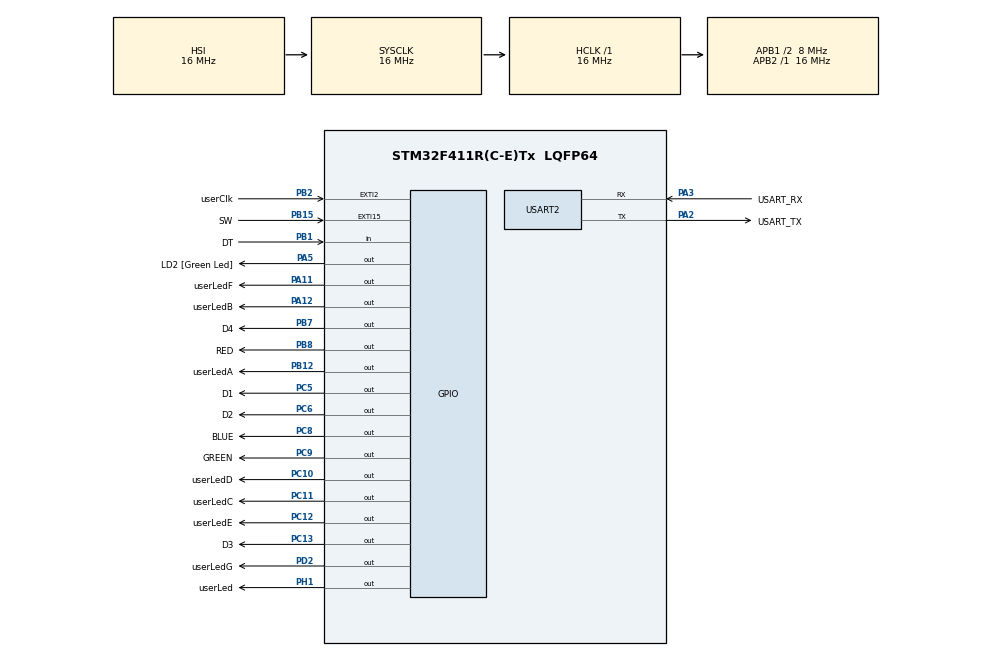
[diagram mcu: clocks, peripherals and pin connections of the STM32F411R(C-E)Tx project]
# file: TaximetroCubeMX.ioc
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Mcu.Family=STM32F4
Mcu.Name=STM32F411R(C-E)Tx
Mcu.Package=LQFP64
NVIC.EXTI15_10_IRQn=true\:0\:0\:false\:false\:true\:true\:true\:true
NVIC.EXTI2_IRQn=true\:0\:0\:false\:false\:true\:true\:true\:true
NVIC.PriorityGroup=NVIC_PRIORITYGROUP_0
NVIC.TIM2_IRQn=true\:0\:0\:false\:false\:true\:true\:true\:true
NVIC.TIM3_IRQn=true\:0\:0\:false\:false\:true\:true\:true\:true
PA11.GPIO_Label=userLedF
PA11.GPIO_Speed=GPIO_SPEED_FREQ_MEDIUM
PA11.Signal=GPIO_Output
PA12.GPIO_Label=userLedB
PA12.GPIO_Speed=GPIO_SPEED_FREQ_MEDIUM
PA12.Signal=GPIO_Output
PA13.GPIO_Label=TMS
PA13.Mode=Serial_Wire
PA13.Signal=SYS_JTMS-SWDIO
PA14.GPIO_Label=TCK
PA14.Mode=Serial_Wire
PA14.Signal=SYS_JTCK-SWCLK
PA2.GPIO_Label=USART_TX
PA2.Mode=Asynchronous
PA2.Signal=USART2_TX
PA3.GPIO_Label=USART_RX
PA3.Mode=Asynchronous
PA3.Signal=USART2_RX
PA5.GPIO_Label=LD2 [Green Led]
PA5.Signal=GPIO_Output
PB1.GPIO_Label=DT
PB1.Signal=GPIO_Input
PB12.GPIO_Label=userLedA
PB12.GPIO_Speed=GPIO_SPEED_FREQ_MEDIUM
PB12.Signal=GPIO_Output
PB15.GPIO_Label=SW
PB15.Signal=GPXTI15
PB2.GPIO_Label=userClk
PB2.Signal=GPXTI2
PB3.GPIO_Label=SWO
PB3.Signal=SYS_JTDO-SWO
PB7.GPIO_Label=D4
PB7.GPIO_ModeDefaultOutputPP=GPIO_MODE_OUTPUT_OD
PB7.GPIO_PuPd=GPIO_NOPULL
PB7.GPIO_Speed=GPIO_SPEED_FREQ_MEDIUM
PB7.Signal=GPIO_Output
PB8.GPIO_Label=RED
PB8.GPIO_Speed=GPIO_SPEED_FREQ_MEDIUM
PB8.Signal=GPIO_Output
PC10.GPIO_Label=userLedD
PC10.GPIO_Speed=GPIO_SPEED_FREQ_MEDIUM
PC10.Signal=GPIO_Output
PC11.GPIO_Label=userLedC
PC11.GPIO_Speed=GPIO_SPEED_FREQ_MEDIUM
PC11.Signal=GPIO_Output
PC12.GPIO_Label=userLedE
PC12.Signal=GPIO_Output
PC13-ANTI_TAMP.GPIO_Label=D3
PC13-ANTI_TAMP.GPIO_ModeDefaultOutputPP=GPIO_MODE_OUTPUT_OD
PC13-ANTI_TAMP.GPIO_PuPd=GPIO_NOPULL
PC13-ANTI_TAMP.GPIO_Speed=GPIO_SPEED_FREQ_LOW
PC13-ANTI_TAMP.Signal=GPIO_Output
PC15-OSC32_OUT.Signal=RCC_OSC32_OUT
PC5.GPIO_Label=D1
PC5.GPIO_ModeDefaultOutputPP=GPIO_MODE_OUTPUT_OD
PC5.GPIO_PuPd=GPIO_NOPULL
PC5.GPIO_Speed=GPIO_SPEED_FREQ_MEDIUM
PC5.Signal=GPIO_Output
PC6.GPIO_Label=D2
PC6.GPIO_ModeDefaultOutputPP=GPIO_MODE_OUTPUT_OD
PC6.GPIO_PuPd=GPIO_NOPULL
PC6.GPIO_Speed=GPIO_SPEED_FREQ_MEDIUM
PC6.Signal=GPIO_Output
PC8.GPIO_Label=BLUE
PC8.GPIO_Speed=GPIO_SPEED_FREQ_MEDIUM
PC8.Signal=GPIO_Output
PC9.GPIO_Label=GREEN
PC9.GPIO_Speed=GPIO_SPEED_FREQ_MEDIUM
PC9.Signal=GPIO_Output
PD2.GPIO_Label=userLedG
PD2.Signal=GPIO_Output
PH1\ -\ OSC_OUT.GPIO_Label=userLed
PH1\ -\ OSC_OUT.GPIO_Speed=GPIO_SPEED_FREQ_MEDIUM
PH1\ -\ OSC_OUT.PinState=GPIO_PIN_SET
PH1\ -\ OSC_OUT.Signal=GPIO_Output
ProjectManager.HeapSize=0x200
ProjectManager.StackSize=0x400
ProjectManager.TargetToolchain=STM32CubeIDE
RCC.48MHZClocksFreq_Value=84000000
RCC.AHBFreq_Value=16000000
RCC.APB1CLKDivider=RCC_HCLK_DIV2
RCC.APB1Freq_Value=8000000
RCC.APB1TimFreq_Value=16000000
RCC.APB2Freq_Value=16000000
RCC.APB2TimFreq_Value=16000000
RCC.CortexFreq_Value=16000000
RCC.FLatency-AdvancedSettings=FLASH_LATENCY_0
RCC.HCLKFreq_Value=16000000
RCC.HSE_VALUE=8000000
RCC.HSI_VALUE=16000000
RCC.PLLN=336
RCC.PLLP=RCC_PLLP_DIV4
RCC.SYSCLKFreq_VALUE=16000000
RCC.VCOOutputFreq_Value=336000000
TIM2.AutoReloadPreload=TIM_AUTORELOAD_PRELOAD_ENABLE
TIM2.Period=250-1
TIM2.Prescaler=16000-1
TIM3.AutoReloadPreload=TIM_AUTORELOAD_PRELOAD_ENABLE
TIM3.Period=5-1
TIM3.Prescaler=16000-1
USART2.VirtualMode=VM_ASYNC
VP_TIM2_VS_ClockSourceINT.Mode=Internal
VP_TIM3_VS_ClockSourceINT.Mode=Internal
board=NUCLEO-F411RE

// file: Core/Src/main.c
/* USER CODE BEGIN Header */
/**
 ******************************************************************************
 * @file           : main,c
 * @brief          : Main program body
 ******************************************************************************
 * @attention
 *
 * Copyright (c) 2025 STMicroelectronics.
 * All rights reserved.
 *
 * This software is licensed under terms that can be found in the LICENSE file
 * in the root directory of this software component.
 * If no LICENSE file comes with this software, it is provided AS-IS.
 *
 ******************************************************************************
 */
/* USER CODE END Header */
#include "main.h"

TIM_HandleTypeDef htim2;
TIM_HandleTypeDef htim3;

UART_HandleTypeDef huart2;

/* USER CODE BEGIN PV */
// variables que gobiernan el encoder
uint8_t data                = 0;
uint8_t casoRGB             = 0; //variable auxiliar para entrar a cada caso de posibles colores del led RGB

//variables usadas para el display
uint16_t numero             = 0;   // Este es el numero general que se vera reflejado en el display completo y el que aumenta o disminuye girando el encoder
uint8_t baseT               = 0;   // Variable auxiliar para entrar en cada caso de prender alguno de los 4 displays abriendo la base de sus transistores correspondientes

// Variables para la descomposicion de "numero" en 4 numeros para cada 7 segmentos
uint8_t unidades            = 0;
uint8_t decenas             = 0;
uint8_t	centenas            = 0;
uint8_t miles               = 0;

fsm_states_t fsm_taximetro = {0};
/* USER CODE END PV */

void SystemClock_Config(void);
static void MX_GPIO_Init(void);
static void MX_USART2_UART_Init(void);
static void MX_TIM2_Init(void);
static void MX_TIM3_Init(void);
/* USER CODE BEGIN PFP */
void refreshDisplay(uint8_t numero); //Refresco de los 4 digitos mostrados en el display que corresponden cada uno a un 7 segmentos
void displayNumber(uint8_t n);       //Casos que pintan en un 7 segmentos un numero del 0 al 9
void getDigit(uint16_t numero);      //Descomposicion de "numero" en 4 digitos : unidad, decena, centena, mil.
void colorRGB (uint8_t y);           //Casos del LedRGB
e_PosibleStates state_machine_action(uint8_t event);    //Maquina de estados
void initProgram(void);              //Función que inicializa la maquina de estados en el estado IDLE (espera)
/* USER CODE END PFP */

int main(void)
{

	/* MCU Configuration--------------------------------------------------------*/

	/* Reset of all peripherals, Initializes the Flash interface and the Systick. */
	HAL_Init();

	/* Configure the system clock */
	SystemClock_Config();

	/* Initialize all configured peripherals */
	MX_GPIO_Init();
	MX_USART2_UART_Init();
	MX_TIM2_Init();
	MX_TIM3_Init();
	/* USER CODE BEGIN 2 */
	initProgram();
	HAL_TIM_Base_Start_IT(&htim2); // Activa el timer y la interrupción del mismo
	HAL_TIM_Base_Start_IT(&htim3);
	/* USER CODE END 2 */

	/* Infinite loop */
	/* USER CODE BEGIN WHILE */
	while (1)
	{
		state_machine_action(fsm_taximetro.state);
		/* USER CODE END WHILE */

	}
}

void SystemClock_Config(void)
{
	RCC_OscInitTypeDef RCC_OscInitStruct = {0};
	RCC_ClkInitTypeDef RCC_ClkInitStruct = {0};

	/** Configure the main internal regulator output voltage
	 */
	__HAL_RCC_PWR_CLK_ENABLE();
	__HAL_PWR_VOLTAGESCALING_CONFIG(PWR_REGULATOR_VOLTAGE_SCALE1);

	/** Initializes the RCC Oscillators according to the specified parameters
	 * in the RCC_OscInitTypeDef structure.
	 */
	RCC_OscInitStruct.OscillatorType = RCC_OSCILLATORTYPE_HSI;
	RCC_OscInitStruct.HSIState = RCC_HSI_ON;
	RCC_OscInitStruct.HSICalibrationValue = RCC_HSICALIBRATION_DEFAULT;
	RCC_OscInitStruct.PLL.PLLState = RCC_PLL_NONE;
	if (HAL_RCC_OscConfig(&RCC_OscInitStruct) != HAL_OK)
	{
		Error_Handler();
	}

	/** Initializes the CPU, AHB and APB buses clocks
	 */
	RCC_ClkInitStruct.ClockType = RCC_CLOCKTYPE_HCLK|RCC_CLOCKTYPE_SYSCLK
			|RCC_CLOCKTYPE_PCLK1|RCC_CLOCKTYPE_PCLK2;
	RCC_ClkInitStruct.SYSCLKSource = RCC_SYSCLKSOURCE_HSI;
	RCC_ClkInitStruct.AHBCLKDivider = RCC_SYSCLK_DIV1;
	RCC_ClkInitStruct.APB1CLKDivider = RCC_HCLK_DIV2;
	RCC_ClkInitStruct.APB2CLKDivider = RCC_HCLK_DIV1;

	if (HAL_RCC_ClockConfig(&RCC_ClkInitStruct, FLASH_LATENCY_0) != HAL_OK)
	{
		Error_Handler();
	}
}

static void MX_TIM2_Init(void)
{

	TIM_ClockConfigTypeDef sClockSourceConfig = {0};
	TIM_MasterConfigTypeDef sMasterConfig = {0};

	htim2.Instance = TIM2;
	htim2.Init.Prescaler = 16000-1;
	htim2.Init.CounterMode = TIM_COUNTERMODE_UP;
	htim2.Init.Period = 250-1;
	htim2.Init.ClockDivision = TIM_CLOCKDIVISION_DIV1;
	htim2.Init.AutoReloadPreload = TIM_AUTORELOAD_PRELOAD_ENABLE;
	if (HAL_TIM_Base_Init(&htim2) != HAL_OK)
	{
		Error_Handler();
	}
	sClockSourceConfig.ClockSource = TIM_CLOCKSOURCE_INTERNAL;
	if (HAL_TIM_ConfigClockSource(&htim2, &sClockSourceConfig) != HAL_OK)
	{
		Error_Handler();
	}
	sMasterConfig.MasterOutputTrigger = TIM_TRGO_RESET;
	sMasterConfig.MasterSlaveMode = TIM_MASTERSLAVEMODE_DISABLE;
	if (HAL_TIMEx_MasterConfigSynchronization(&htim2, &sMasterConfig) != HAL_OK)
	{
		Error_Handler();
	}

}

static void MX_TIM3_Init(void)
{

	TIM_ClockConfigTypeDef sClockSourceConfig = {0};
	TIM_MasterConfigTypeDef sMasterConfig = {0};

	htim3.Instance = TIM3;
	htim3.Init.Prescaler = 16000-1;
	htim3.Init.CounterMode = TIM_COUNTERMODE_UP;
	htim3.Init.Period = 5-1;
	htim3.Init.ClockDivision = TIM_CLOCKDIVISION_DIV1;
	htim3.Init.AutoReloadPreload = TIM_AUTORELOAD_PRELOAD_ENABLE;
	if (HAL_TIM_Base_Init(&htim3) != HAL_OK)
	{
		Error_Handler();
	}
	sClockSourceConfig.ClockSource = TIM_CLOCKSOURCE_INTERNAL;
	if (HAL_TIM_ConfigClockSource(&htim3, &sClockSourceConfig) != HAL_OK)
	{
		Error_Handler();
	}
	sMasterConfig.MasterOutputTrigger = TIM_TRGO_RESET;
	sMasterConfig.MasterSlaveMode = TIM_MASTERSLAVEMODE_DISABLE;
	if (HAL_TIMEx_MasterConfigSynchronization(&htim3, &sMasterConfig) != HAL_OK)
	{
		Error_Handler();
	}

}

static void MX_USART2_UART_Init(void)
{

	huart2.Instance = USART2;
	huart2.Init.BaudRate = 115200;
	huart2.Init.WordLength = UART_WORDLENGTH_8B;
	huart2.Init.StopBits = UART_STOPBITS_1;
	huart2.Init.Parity = UART_PARITY_NONE;
	huart2.Init.Mode = UART_MODE_TX_RX;
	huart2.Init.HwFlowCtl = UART_HWCONTROL_NONE;
	huart2.Init.OverSampling = UART_OVERSAMPLING_16;
	if (HAL_UART_Init(&huart2) != HAL_OK)
	{
		Error_Handler();
	}

}

static void MX_GPIO_Init(void)
{
	GPIO_InitTypeDef GPIO_InitStruct = {0};

	/* GPIO Ports Clock Enable */
	__HAL_RCC_GPIOC_CLK_ENABLE();
	__HAL_RCC_GPIOH_CLK_ENABLE();
	__HAL_RCC_GPIOA_CLK_ENABLE();
	__HAL_RCC_GPIOB_CLK_ENABLE();
	__HAL_RCC_GPIOD_CLK_ENABLE();

	/*Configure GPIO pin Output Level */
	HAL_GPIO_WritePin(GPIOC, D3_Pin|D1_Pin|D2_Pin|BLUE_Pin
			|GREEN_Pin|userLedD_Pin|userLedC_Pin|userLedE_Pin, GPIO_PIN_RESET);

	/*Configure GPIO pin Output Level */
	HAL_GPIO_WritePin(userLed_GPIO_Port, userLed_Pin, GPIO_PIN_SET);

	/*Configure GPIO pin Output Level */
	HAL_GPIO_WritePin(GPIOA, LD2_Pin|userLedF_Pin|userLedB_Pin, GPIO_PIN_RESET);

	/*Configure GPIO pin Output Level */
	HAL_GPIO_WritePin(GPIOB, userLedA_Pin|D4_Pin|RED_Pin, GPIO_PIN_RESET);

	/*Configure GPIO pin Output Level */
	HAL_GPIO_WritePin(userLedG_GPIO_Port, userLedG_Pin, GPIO_PIN_RESET);

	/*Configure GPIO pin : D3_Pin */
	GPIO_InitStruct.Pin = D3_Pin;
	GPIO_InitStruct.Mode = GPIO_MODE_OUTPUT_OD;
	GPIO_InitStruct.Pull = GPIO_NOPULL;
	GPIO_InitStruct.Speed = GPIO_SPEED_FREQ_LOW;
	HAL_GPIO_Init(D3_GPIO_Port, &GPIO_InitStruct);

	/*Configure GPIO pin : userLed_Pin */
	GPIO_InitStruct.Pin = userLed_Pin;
	GPIO_InitStruct.Mode = GPIO_MODE_OUTPUT_PP;
	GPIO_InitStruct.Pull = GPIO_NOPULL;
	GPIO_InitStruct.Speed = GPIO_SPEED_FREQ_MEDIUM;
	HAL_GPIO_Init(userLed_GPIO_Port, &GPIO_InitStruct);

	/*Configure GPIO pin : LD2_Pin */
	GPIO_InitStruct.Pin = LD2_Pin;
	GPIO_InitStruct.Mode = GPIO_MODE_OUTPUT_PP;
	GPIO_InitStruct.Pull = GPIO_NOPULL;
	GPIO_InitStruct.Speed = GPIO_SPEED_FREQ_LOW;
	HAL_GPIO_Init(LD2_GPIO_Port, &GPIO_InitStruct);

	/*Configure GPIO pins : D1_Pin D2_Pin */
	GPIO_InitStruct.Pin = D1_Pin|D2_Pin;
	GPIO_InitStruct.Mode = GPIO_MODE_OUTPUT_OD;
	GPIO_InitStruct.Pull = GPIO_NOPULL;
	GPIO_InitStruct.Speed = GPIO_SPEED_FREQ_MEDIUM;
	HAL_GPIO_Init(GPIOC, &GPIO_InitStruct);

	/*Configure GPIO pin : DT_Pin */
	GPIO_InitStruct.Pin = DT_Pin;
	GPIO_InitStruct.Mode = GPIO_MODE_INPUT;
	GPIO_InitStruct.Pull = GPIO_NOPULL;
	HAL_GPIO_Init(DT_GPIO_Port, &GPIO_InitStruct);

	/*Configure GPIO pins : userClk_Pin SW_Pin */
	GPIO_InitStruct.Pin = userClk_Pin|SW_Pin;
	GPIO_InitStruct.Mode = GPIO_MODE_IT_RISING;
	GPIO_InitStruct.Pull = GPIO_NOPULL;
	HAL_GPIO_Init(GPIOB, &GPIO_InitStruct);

	/*Configure GPIO pins : userLedA_Pin RED_Pin */
	GPIO_InitStruct.Pin = userLedA_Pin|RED_Pin;
	GPIO_InitStruct.Mode = GPIO_MODE_OUTPUT_PP;
	GPIO_InitStruct.Pull = GPIO_NOPULL;
	GPIO_InitStruct.Speed = GPIO_SPEED_FREQ_MEDIUM;
	HAL_GPIO_Init(GPIOB, &GPIO_InitStruct);

	/*Configure GPIO pins : BLUE_Pin GREEN_Pin userLedD_Pin userLedC_Pin */
	GPIO_InitStruct.Pin = BLUE_Pin|GREEN_Pin|userLedD_Pin|userLedC_Pin;
	GPIO_InitStruct.Mode = GPIO_MODE_OUTPUT_PP;
	GPIO_InitStruct.Pull = GPIO_NOPULL;
	GPIO_InitStruct.Speed = GPIO_SPEED_FREQ_MEDIUM;
	HAL_GPIO_Init(GPIOC, &GPIO_InitStruct);

	/*Configure GPIO pins : userLedF_Pin userLedB_Pin */
	GPIO_InitStruct.Pin = userLedF_Pin|userLedB_Pin;
	GPIO_InitStruct.Mode = GPIO_MODE_OUTPUT_PP;
	GPIO_InitStruct.Pull = GPIO_NOPULL;
	GPIO_InitStruct.Speed = GPIO_SPEED_FREQ_MEDIUM;
	HAL_GPIO_Init(GPIOA, &GPIO_InitStruct);

	/*Configure GPIO pin : userLedE_Pin */
	GPIO_InitStruct.Pin = userLedE_Pin;
	GPIO_InitStruct.Mode = GPIO_MODE_OUTPUT_PP;
	GPIO_InitStruct.Pull = GPIO_NOPULL;
	GPIO_InitStruct.Speed = GPIO_SPEED_FREQ_LOW;
	HAL_GPIO_Init(userLedE_GPIO_Port, &GPIO_InitStruct);

	/*Configure GPIO pin : userLedG_Pin */
	GPIO_InitStruct.Pin = userLedG_Pin;
	GPIO_InitStruct.Mode = GPIO_MODE_OUTPUT_PP;
	GPIO_InitStruct.Pull = GPIO_NOPULL;
	GPIO_InitStruct.Speed = GPIO_SPEED_FREQ_LOW;
	HAL_GPIO_Init(userLedG_GPIO_Port, &GPIO_InitStruct);

	/*Configure GPIO pin : D4_Pin */
	GPIO_InitStruct.Pin = D4_Pin;
	GPIO_InitStruct.Mode = GPIO_MODE_OUTPUT_OD;
	GPIO_InitStruct.Pull = GPIO_NOPULL;
	GPIO_InitStruct.Speed = GPIO_SPEED_FREQ_MEDIUM;
	HAL_GPIO_Init(D4_GPIO_Port, &GPIO_InitStruct);

	/* EXTI interrupt init*/
	HAL_NVIC_SetPriority(EXTI2_IRQn, 0, 0);
	HAL_NVIC_EnableIRQ(EXTI2_IRQn);

	HAL_NVIC_SetPriority(EXTI15_10_IRQn, 0, 0);
	HAL_NVIC_EnableIRQ(EXTI15_10_IRQn);

}

/* USER CODE BEGIN 4 */
e_PosibleStates state_machine_action(uint8_t event){

	switch(fsm_taximetro.state){

	case IDLE:{
		__NOP();
		break;
	}

	case ENCODER:{
		GPIO_PinState data = HAL_GPIO_ReadPin(DT_GPIO_Port, DT_Pin);
		if (data == 0){ //Revisamos si fue un flanco de subida o de bajada

			if (numero == 4095){   //Si el numero es 4095 debemos devolvernos al 0
				numero=0;
			}

			else{       // de lo contrario sumamos 1 a la variable "numero"
				numero ++;
			}
		}

		else{             //en caso contrario vamos a restar 1 a la variable "numero"
			if (numero ==0){         //si "numero" es 0 debemos llegar a 4095 que es el limte para una variable de 12 Bits
				numero=4095;
			}

			else{
				numero --;
			}

		}

		fsm_taximetro.state = IDLE;
		break;
	}

	case SWITCH:{
		casoRGB ++;    //pasamos al siguiente caso de Led RGB
		if (casoRGB >7){  //Reiniciamos casoRGB cuando llega al ultimo para así volver a empezar por el primer caso
			casoRGB = 0;

		}
		colorRGB(casoRGB);
		fsm_taximetro.state = IDLE;
		break;
	}

	case REFRESH:{
		baseT ++;         //Entramos al siguiente digito activando la base del transistor que sigue, entrando en los casos de la funcion "refreshDisplay"
		if (baseT >3){    //Reiniciamos "baseT" cuando llega al ultimo caso y asi volvemos a empezar por el primer digito (D4)
			baseT = 0;
		}
		getDigit(numero);        //obtenemos los 4 digitos necesarios (unidad,decena,centena,mil)  a partir de "numero"
		refreshDisplay(baseT);
		fsm_taximetro.state = IDLE;
		break;
	}

	}
	return fsm_taximetro.state;

}

//Descomposicion de "numero" en 4 digitos : unidad, decena, centena, mil.
void getDigit(uint16_t numero){

	unidades = (((numero %1000) %100) %10);
	decenas = ((numero % 1000) %100) / 10;
	centenas = (numero % 1000) /100;
	miles = numero /1000;

}

//Casos que pintan en un 7 segmentos un numero del 0 al 9
void displayNumber(uint8_t n){
	HAL_GPIO_WritePin(GPIOB, userLedA_Pin, GPIO_PIN_RESET);
	HAL_GPIO_WritePin(GPIOA, userLedB_Pin, GPIO_PIN_RESET);
	HAL_GPIO_WritePin(GPIOC, userLedC_Pin, GPIO_PIN_RESET);
	HAL_GPIO_WritePin(GPIOC, userLedD_Pin, GPIO_PIN_RESET);
	HAL_GPIO_WritePin(GPIOC, userLedE_Pin, GPIO_PIN_RESET);
	HAL_GPIO_WritePin(GPIOA, userLedF_Pin, GPIO_PIN_RESET);
	HAL_GPIO_WritePin(GPIOD, userLedG_Pin, GPIO_PIN_RESET);

	switch(n){
	case 0:{
		HAL_GPIO_WritePin(GPIOB, userLedA_Pin, GPIO_PIN_RESET);
		HAL_GPIO_WritePin(GPIOA, userLedB_Pin, GPIO_PIN_RESET);
		HAL_GPIO_WritePin(GPIOC, userLedC_Pin, GPIO_PIN_RESET);
		HAL_GPIO_WritePin(GPIOC, userLedD_Pin, GPIO_PIN_RESET);
		HAL_GPIO_WritePin(GPIOC, userLedE_Pin, GPIO_PIN_RESET);
		HAL_GPIO_WritePin(GPIOA, userLedF_Pin, GPIO_PIN_RESET);
		HAL_GPIO_WritePin(GPIOD, userLedG_Pin, GPIO_PIN_SET);

		break;
	}
	case 1:{
		HAL_GPIO_WritePin(GPIOB, userLedA_Pin, GPIO_PIN_SET);
		HAL_GPIO_WritePin(GPIOA, userLedB_Pin, GPIO_PIN_RESET);
		HAL_GPIO_WritePin(GPIOC, userLedC_Pin, GPIO_PIN_RESET);
		HAL_GPIO_WritePin(GPIOC, userLedD_Pin, GPIO_PIN_SET);
		HAL_GPIO_WritePin(GPIOC, userLedE_Pin, GPIO_PIN_SET);
		HAL_GPIO_WritePin(GPIOA, userLedF_Pin, GPIO_PIN_SET);
		HAL_GPIO_WritePin(GPIOD, userLedG_Pin, GPIO_PIN_SET);

		break;
	}
	case 2:{
		HAL_GPIO_WritePin(GPIOB, userLedA_Pin, GPIO_PIN_RESET);
		HAL_GPIO_WritePin(GPIOA, userLedB_Pin, GPIO_PIN_RESET);
		HAL_GPIO_WritePin(GPIOC, userLedC_Pin, GPIO_PIN_SET);
		HAL_GPIO_WritePin(GPIOC, userLedD_Pin, GPIO_PIN_RESET);
		HAL_GPIO_WritePin(GPIOC, userLedE_Pin, GPIO_PIN_RESET);
		HAL_GPIO_WritePin(GPIOA, userLedF_Pin, GPIO_PIN_SET);
		HAL_GPIO_WritePin(GPIOD, userLedG_Pin, GPIO_PIN_RESET);

		break;
	}
	case 3:{
		HAL_GPIO_WritePin(GPIOB, userLedA_Pin, GPIO_PIN_RESET);
		HAL_GPIO_WritePin(GPIOA, userLedB_Pin, GPIO_PIN_RESET);
		HAL_GPIO_WritePin(GPIOC, userLedC_Pin, GPIO_PIN_RESET);
		HAL_GPIO_WritePin(GPIOC, userLedD_Pin, GPIO_PIN_RESET);
		HAL_GPIO_WritePin(GPIOC, userLedE_Pin, GPIO_PIN_SET);
		HAL_GPIO_WritePin(GPIOA, userLedF_Pin, GPIO_PIN_SET);
		HAL_GPIO_WritePin(GPIOD, userLedG_Pin, GPIO_PIN_RESET);

		break;
	}
	case 4:{
		HAL_GPIO_WritePin(GPIOB, userLedA_Pin, GPIO_PIN_SET);
		HAL_GPIO_WritePin(GPIOA, userLedB_Pin, GPIO_PIN_RESET);
		HAL_GPIO_WritePin(GPIOC, userLedC_Pin, GPIO_PIN_RESET);
		HAL_GPIO_WritePin(GPIOC, userLedD_Pin, GPIO_PIN_SET);
		HAL_GPIO_WritePin(GPIOC, userLedE_Pin, GPIO_PIN_SET);
		HAL_GPIO_WritePin(GPIOA, userLedF_Pin, GPIO_PIN_RESET);
		HAL_GPIO_WritePin(GPIOD, userLedG_Pin, GPIO_PIN_RESET);

		break;
	}
	case 5:{
		HAL_GPIO_WritePin(GPIOB, userLedA_Pin, GPIO_PIN_RESET);
		HAL_GPIO_WritePin(GPIOA, userLedB_Pin, GPIO_PIN_SET);
		HAL_GPIO_WritePin(GPIOC, userLedC_Pin, GPIO_PIN_RESET);
		HAL_GPIO_WritePin(GPIOC, userLedD_Pin, GPIO_PIN_RESET);
		HAL_GPIO_WritePin(GPIOC, userLedE_Pin, GPIO_PIN_SET);
		HAL_GPIO_WritePin(GPIOA, userLedF_Pin, GPIO_PIN_RESET);
		HAL_GPIO_WritePin(GPIOD, userLedG_Pin, GPIO_PIN_RESET);

		break;
	}
	case 6:{
		HAL_GPIO_WritePin(GPIOB, userLedA_Pin, GPIO_PIN_RESET);
		HAL_GPIO_WritePin(GPIOA, userLedB_Pin, GPIO_PIN_SET);
		HAL_GPIO_WritePin(GPIOC, userLedC_Pin, GPIO_PIN_RESET);
		HAL_GPIO_WritePin(GPIOC, userLedD_Pin, GPIO_PIN_RESET);
		HAL_GPIO_WritePin(GPIOC, userLedE_Pin, GPIO_PIN_RESET);
		HAL_GPIO_WritePin(GPIOA, userLedF_Pin, GPIO_PIN_RESET);
		HAL_GPIO_WritePin(GPIOD, userLedG_Pin, GPIO_PIN_RESET);

		break;
	}
	case 7:{
		HAL_GPIO_WritePin(GPIOB, userLedA_Pin, GPIO_PIN_RESET);
		HAL_GPIO_WritePin(GPIOA, userLedB_Pin, GPIO_PIN_RESET);
		HAL_GPIO_WritePin(GPIOC, userLedC_Pin, GPIO_PIN_RESET);
		HAL_GPIO_WritePin(GPIOC, userLedD_Pin, GPIO_PIN_SET);
		HAL_GPIO_WritePin(GPIOC, userLedE_Pin, GPIO_PIN_SET);
		HAL_GPIO_WritePin(GPIOA, userLedF_Pin, GPIO_PIN_SET);
		HAL_GPIO_WritePin(GPIOD, userLedG_Pin, GPIO_PIN_SET);
		break;
	}
	case 8:{
		HAL_GPIO_WritePin(GPIOB, userLedA_Pin, GPIO_PIN_RESET);
		HAL_GPIO_WritePin(GPIOA, userLedB_Pin, GPIO_PIN_RESET);
		HAL_GPIO_WritePin(GPIOC, userLedC_Pin, GPIO_PIN_RESET);
		HAL_GPIO_WritePin(GPIOC, userLedD_Pin, GPIO_PIN_RESET);
		HAL_GPIO_WritePin(GPIOC, userLedE_Pin, GPIO_PIN_RESET);
		HAL_GPIO_WritePin(GPIOA, userLedF_Pin, GPIO_PIN_RESET);
		HAL_GPIO_WritePin(GPIOD, userLedG_Pin, GPIO_PIN_RESET);

		break;
	}
	case 9:{
		HAL_GPIO_WritePin(GPIOB, userLedA_Pin, GPIO_PIN_RESET);
		HAL_GPIO_WritePin(GPIOA, userLedB_Pin, GPIO_PIN_RESET);
		HAL_GPIO_WritePin(GPIOC, userLedC_Pin, GPIO_PIN_RESET);
		HAL_GPIO_WritePin(GPIOC, userLedD_Pin, GPIO_PIN_SET);
		HAL_GPIO_WritePin(GPIOC, userLedE_Pin, GPIO_PIN_SET);
		HAL_GPIO_WritePin(GPIOA, userLedF_Pin, GPIO_PIN_RESET);
		HAL_GPIO_WritePin(GPIOD, userLedG_Pin, GPIO_PIN_RESET);

		break;
	}
	}
}

//Refresco de los 4 digitos mostrados en el display que corresponden cada uno a un 7 segmentos. En esta función primero se apagan todos los digitos y luego se prende en orden del primero al ultimo activando o desactivando sus transistores correspondientes
void refreshDisplay (uint8_t n){

	switch(n){
	case 0:{
		HAL_GPIO_WritePin(GPIOC, D1_Pin, GPIO_PIN_SET);
		HAL_GPIO_WritePin(GPIOC, D2_Pin, GPIO_PIN_SET);
		HAL_GPIO_WritePin(GPIOC, D3_Pin, GPIO_PIN_SET);
		HAL_GPIO_WritePin(GPIOB, D4_Pin, GPIO_PIN_SET);
		displayNumber(unidades);
		HAL_GPIO_WritePin(GPIOB, D4_Pin, GPIO_PIN_RESET);

		break;
	}
	case 1:{
		HAL_GPIO_WritePin(GPIOC, D1_Pin, GPIO_PIN_SET);
		HAL_GPIO_WritePin(GPIOC, D2_Pin, GPIO_PIN_SET);
		HAL_GPIO_WritePin(GPIOC, D3_Pin, GPIO_PIN_SET);
		HAL_GPIO_WritePin(GPIOB, D4_Pin, GPIO_PIN_SET);
		displayNumber(decenas);
		HAL_GPIO_WritePin(GPIOC, D3_Pin, GPIO_PIN_RESET);
		break;
	}
	case 2:{
		HAL_GPIO_WritePin(GPIOC, D1_Pin, GPIO_PIN_SET);
		HAL_GPIO_WritePin(GPIOC, D2_Pin, GPIO_PIN_SET);
		HAL_GPIO_WritePin(GPIOC, D3_Pin, GPIO_PIN_SET);
		HAL_GPIO_WritePin(GPIOB, D4_Pin, GPIO_PIN_SET);
		displayNumber(centenas);
		HAL_GPIO_WritePin(GPIOC, D2_Pin, GPIO_PIN_RESET);
		break;
	}
	case 3:{
		HAL_GPIO_WritePin(GPIOC, D1_Pin, GPIO_PIN_SET);
		HAL_GPIO_WritePin(GPIOC, D2_Pin, GPIO_PIN_SET);
		HAL_GPIO_WritePin(GPIOC, D3_Pin, GPIO_PIN_SET);
		HAL_GPIO_WritePin(GPIOB, D4_Pin, GPIO_PIN_SET);
		displayNumber(miles);
		HAL_GPIO_WritePin(GPIOC, D1_Pin, GPIO_PIN_RESET);
		break;
	}
	}

}

//Casos del Led RGB
void colorRGB (uint8_t casoRGB){
	HAL_GPIO_WritePin(GPIOC, GREEN_Pin, GPIO_PIN_RESET);
	HAL_GPIO_WritePin(GPIOB, RED_Pin, GPIO_PIN_RESET);
	HAL_GPIO_WritePin(GPIOC, BLUE_Pin, GPIO_PIN_RESET);

	switch (casoRGB){

	case 0:{
		HAL_GPIO_WritePin(GPIOC, GREEN_Pin, GPIO_PIN_RESET);
		HAL_GPIO_WritePin(GPIOB, RED_Pin, GPIO_PIN_RESET);
		HAL_GPIO_WritePin(GPIOC, BLUE_Pin, GPIO_PIN_RESET);
		break;
	}
	case 1:{
		HAL_GPIO_WritePin(GPIOC, GREEN_Pin, GPIO_PIN_RESET);
		HAL_GPIO_WritePin(GPIOB, RED_Pin, GPIO_PIN_RESET);
		HAL_GPIO_WritePin(GPIOC, BLUE_Pin, GPIO_PIN_SET);
		break;
	}
	case 2:{
		HAL_GPIO_WritePin(GPIOC, GREEN_Pin, GPIO_PIN_SET);
		HAL_GPIO_WritePin(GPIOB, RED_Pin, GPIO_PIN_RESET);
		HAL_GPIO_WritePin(GPIOC, BLUE_Pin, GPIO_PIN_RESET);
		break;
	}
	case 3:{
		HAL_GPIO_WritePin(GPIOC, GREEN_Pin, GPIO_PIN_RESET);
		HAL_GPIO_WritePin(GPIOB, RED_Pin, GPIO_PIN_SET);
		HAL_GPIO_WritePin(GPIOC, BLUE_Pin, GPIO_PIN_RESET);
		break;
	}
	case 4:{
		HAL_GPIO_WritePin(GPIOC, GREEN_Pin, GPIO_PIN_SET);
		HAL_GPIO_WritePin(GPIOB, RED_Pin, GPIO_PIN_SET);
		HAL_GPIO_WritePin(GPIOC, BLUE_Pin, GPIO_PIN_RESET);
		break;
	}
	case 5:{
		HAL_GPIO_WritePin(GPIOC, GREEN_Pin, GPIO_PIN_SET);
		HAL_GPIO_WritePin(GPIOB, RED_Pin, GPIO_PIN_RESET);
		HAL_GPIO_WritePin(GPIOC, BLUE_Pin, GPIO_PIN_SET);
		break;
	}
	case 6:{
		HAL_GPIO_WritePin(GPIOC, GREEN_Pin, GPIO_PIN_RESET);
		HAL_GPIO_WritePin(GPIOB, RED_Pin, GPIO_PIN_SET);
		HAL_GPIO_WritePin(GPIOC, BLUE_Pin, GPIO_PIN_SET);
		break;
	}
	case 7:{
		HAL_GPIO_WritePin(GPIOC, GREEN_Pin, GPIO_PIN_SET);
		HAL_GPIO_WritePin(GPIOB, RED_Pin, GPIO_PIN_SET);
		HAL_GPIO_WritePin(GPIOC, BLUE_Pin, GPIO_PIN_SET);
		break;
	}
	}

}
void initProgram (void){            //Inicia la maquina de estados en el estado IDLE

	fsm_taximetro.state = IDLE;
}
//Callbacks

void HAL_TIM_PeriodElapsedCallback(TIM_HandleTypeDef *htim){
	if(htim->Instance == TIM3){ // cada 5ms
		fsm_taximetro.state = REFRESH;// Código cuando se desborda TIM2
	}
	else if(htim->Instance == TIM2){ // cada 250 ms
		HAL_GPIO_TogglePin(userLed_GPIO_Port, userLed_Pin);
	}
}

void HAL_GPIO_EXTI_Callback(uint16_t GPIO_Pin){
	if(GPIO_Pin == userClk_Pin){
		fsm_taximetro.state = ENCODER;// interrupción externa con la señal de reloj
	}
	if(GPIO_Pin == SW_Pin)
	{
		fsm_taximetro.state = SWITCH;
	}
}

/* USER CODE END 4 */

void Error_Handler(void)
{
	__disable_irq();
	while (1)
	{
	}
}
